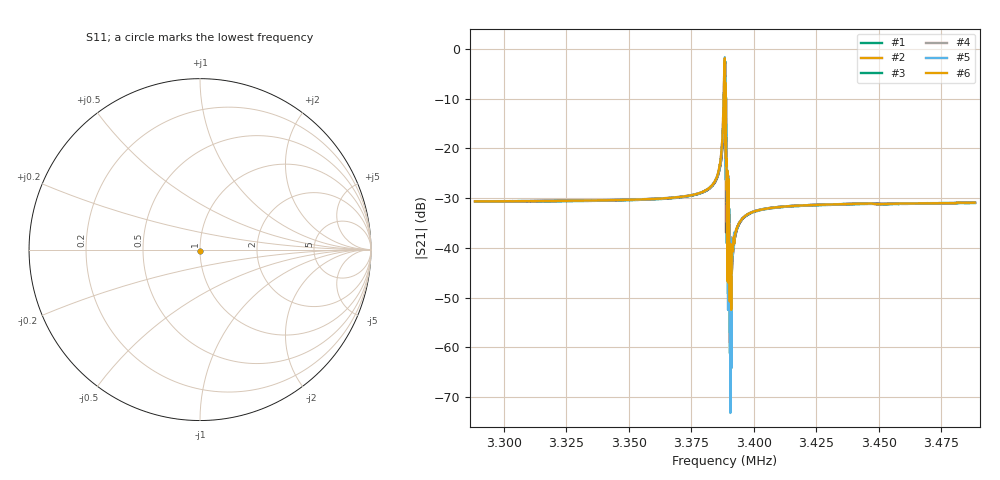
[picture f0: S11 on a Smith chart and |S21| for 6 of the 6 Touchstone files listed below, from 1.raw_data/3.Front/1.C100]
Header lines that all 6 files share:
# Hz S dB R 50.000
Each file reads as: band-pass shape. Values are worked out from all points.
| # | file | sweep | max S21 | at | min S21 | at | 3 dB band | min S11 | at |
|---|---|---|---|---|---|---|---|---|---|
| 1 | C100_30C.s2p | 3.289 MHz to 3.489 MHz | -6.49 dB | 3.389 MHz | -65.9 dB | 3.391 MHz | 3.388 MHz-3.389 MHz | -43.2 dB | 3.482 MHz |
| 2 | C100_35C.s2p | 3.289 MHz to 3.489 MHz | -5.33 dB | 3.389 MHz | -65.8 dB | 3.391 MHz | 3.388 MHz-3.389 MHz | -43.2 dB | 3.48 MHz |
| 3 | C100_50C.s2p | 3.289 MHz to 3.489 MHz | -2.55 dB | 3.389 MHz | -53.1 dB | 3.391 MHz | 3.388 MHz-3.389 MHz | -43.4 dB | 3.485 MHz |
| 4 | C100_55C.s2p | 3.288 MHz to 3.488 MHz | -2.29 dB | 3.388 MHz | -59.2 dB | 3.39 MHz | 3.388 MHz-3.389 MHz | -43.3 dB | 3.48 MHz |
| 5 | C100_60C.s2p | 3.288 MHz to 3.488 MHz | -1.71 dB | 3.388 MHz | -73.2 dB | 3.391 MHz | 3.388 MHz-3.388 MHz | -43.4 dB | 3.471 MHz |
| 6 | C100_65C.s2p | 3.288 MHz to 3.488 MHz | -1.89 dB | 3.388 MHz | -52.5 dB | 3.391 MHz | 3.388 MHz-3.388 MHz | -43.2 dB | 3.488 MHz |
